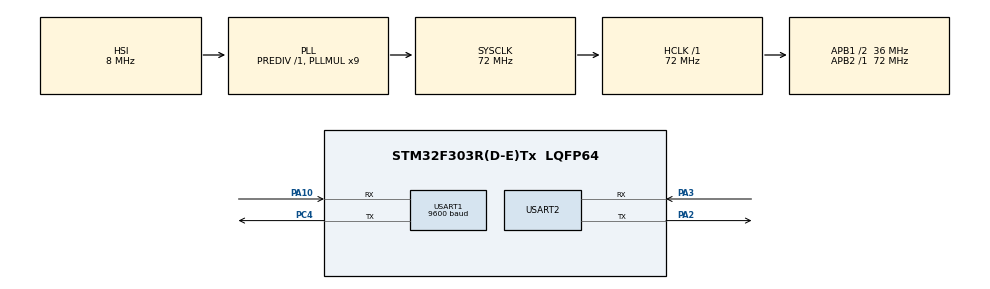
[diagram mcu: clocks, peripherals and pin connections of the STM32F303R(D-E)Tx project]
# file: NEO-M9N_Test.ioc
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Dma.Request0=USART1_RX
Dma.Request1=USART1_TX
Dma.USART1_RX.0.Direction=DMA_PERIPH_TO_MEMORY
Dma.USART1_RX.0.Instance=DMA1_Channel5
Dma.USART1_RX.0.MemDataAlignment=DMA_MDATAALIGN_BYTE
Dma.USART1_RX.0.MemInc=DMA_MINC_ENABLE
Dma.USART1_RX.0.Mode=DMA_NORMAL
Dma.USART1_RX.0.PeriphDataAlignment=DMA_PDATAALIGN_BYTE
Dma.USART1_RX.0.PeriphInc=DMA_PINC_DISABLE
Dma.USART1_RX.0.Priority=DMA_PRIORITY_LOW
Dma.USART1_TX.1.Direction=DMA_MEMORY_TO_PERIPH
Dma.USART1_TX.1.Instance=DMA1_Channel4
Dma.USART1_TX.1.MemDataAlignment=DMA_MDATAALIGN_BYTE
Dma.USART1_TX.1.MemInc=DMA_MINC_ENABLE
Dma.USART1_TX.1.Mode=DMA_NORMAL
Dma.USART1_TX.1.PeriphDataAlignment=DMA_PDATAALIGN_BYTE
Dma.USART1_TX.1.PeriphInc=DMA_PINC_DISABLE
Dma.USART1_TX.1.Priority=DMA_PRIORITY_LOW
Mcu.Family=STM32F3
Mcu.Name=STM32F303R(D-E)Tx
Mcu.Package=LQFP64
NVIC.DMA1_Channel4_IRQn=true\:0\:0\:false\:false\:true\:false\:true
NVIC.DMA1_Channel5_IRQn=true\:0\:0\:false\:false\:true\:false\:true
NVIC.PriorityGroup=NVIC_PRIORITYGROUP_0
NVIC.USART1_IRQn=true\:0\:0\:false\:false\:true\:true\:true
NVIC.USART2_IRQn=true\:0\:0\:false\:false\:true\:true\:true
PA10.Mode=Asynchronous
PA10.Signal=USART1_RX
PA13.Mode=Trace_Asynchronous_SW
PA13.Signal=SYS_JTMS-SWDIO
PA14.Mode=Trace_Asynchronous_SW
PA14.Signal=SYS_JTCK-SWCLK
PA2.Mode=Asynchronous
PA2.Signal=USART2_TX
PA3.Mode=Asynchronous
PA3.Signal=USART2_RX
PB3.Mode=Trace_Asynchronous_SW
PB3.Signal=SYS_JTDO-TRACESWO
PC4.Mode=Asynchronous
PC4.Signal=USART1_TX
ProjectManager.HeapSize=0x200
ProjectManager.StackSize=0x400
ProjectManager.TargetToolchain=STM32CubeIDE
RCC.AHBFreq_Value=72000000
RCC.APB1CLKDivider=RCC_HCLK_DIV2
RCC.APB1Freq_Value=36000000
RCC.APB1TimFreq_Value=72000000
RCC.APB2Freq_Value=72000000
RCC.APB2TimFreq_Value=72000000
RCC.CortexFreq_Value=72000000
RCC.HCLKFreq_Value=72000000
RCC.HSE_VALUE=8000000
RCC.HSI_VALUE=8000000
RCC.LSE_VALUE=32768
RCC.PLLM=8
RCC.PLLMUL=RCC_PLL_MUL9
RCC.PLLN=336
RCC.PLLP=RCC_PLLP_DIV4
RCC.PLLQ=7
RCC.RCC_PLLsource_Clock_Source_FROM_HSE=RCC_HSE_PREDIV_DIV2
RCC.SYSCLKFreq_VALUE=72000000
RCC.SYSCLKSourceVirtual=RCC_SYSCLKSOURCE_PLLCLK
RCC.USBFreq_Value=72000000
USART1.BaudRate=9600
USART1.VirtualMode-Asynchronous=VM_ASYNC
USART2.VirtualMode-Asynchronous=VM_ASYNC
board=NUCLEO-F303RE

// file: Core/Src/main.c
/* USER CODE BEGIN Header */
/**
  ******************************************************************************
  * @file           : main.c
  * @brief          : Main program body
  ******************************************************************************
  * @attention
  *
  * <h2><center>&copy; Copyright (c) 2020 STMicroelectronics.
  * All rights reserved.</center></h2>
  *
  * This software component is licensed by ST under BSD 3-Clause license,
  * the "License"; You may not use this file except in compliance with the
  * License. You may obtain a copy of the License at:
  *                        opensource.org/licenses/BSD-3-Clause
  *
  ******************************************************************************
  */
/* USER CODE END Header */
#include "main.h"

/* USER CODE BEGIN Includes */
#include <GNSS.h>
#include <stdio.h>
#include <string.h>
/* USER CODE END Includes */

UART_HandleTypeDef huart1;
UART_HandleTypeDef huart2;
DMA_HandleTypeDef hdma_usart1_rx;
DMA_HandleTypeDef hdma_usart1_tx;

void SystemClock_Config(void);
static void MX_GPIO_Init(void);
static void MX_DMA_Init(void);
static void MX_USART1_UART_Init(void);
static void MX_USART2_UART_Init(void);

int main(void)
{
  /* USER CODE BEGIN 1 */
  char msg[1000];
  /* USER CODE END 1 */

  /* MCU Configuration--------------------------------------------------------*/

  /* Reset of all peripherals, Initializes the Flash interface and the Systick. */
  HAL_Init();

  /* Configure the system clock */
  SystemClock_Config();

  /* Initialize all configured peripherals */
  MX_GPIO_Init();
  MX_DMA_Init();
  MX_USART1_UART_Init();
  MX_USART2_UART_Init();
  /* USER CODE BEGIN 2 */

  // USART1 used for the GPS (baud rate = 9600)
  // USART2 used for communication w computer (baud rate = 38400)

  // Initialize GNSS_Handle (struct that contains GPS data information)
  GNSS_Init(&GNSS_Handle, &huart1);
  HAL_Delay(1000);
  GNSS_LoadConfig(&GNSS_Handle);
  uint32_t Timer = HAL_GetTick();
  /* USER CODE END 2 */

  /* Infinite loop */
  /* USER CODE BEGIN WHILE */
  while (1)
  {
	  if ((HAL_GetTick() - Timer) > 1000) {

		sprintf(msg, "--New Readings--\n");
		HAL_UART_Transmit(&huart2, (uint8_t*)msg, strlen(msg), HAL_MAX_DELAY);

		GNSS_GetUniqID(&GNSS_Handle);
		GNSS_ParseBuffer(&GNSS_Handle);
		HAL_Delay(250);
		GNSS_GetPVTData(&GNSS_Handle);
		GNSS_ParseBuffer(&GNSS_Handle);

		sprintf(msg, "Day: %d-%d-%d \r\n", GNSS_Handle.day, GNSS_Handle.month,GNSS_Handle.year);
		HAL_UART_Transmit(&huart2, (uint8_t*)msg, strlen(msg), HAL_MAX_DELAY);
		sprintf(msg, "Time: %d:%d:%d \r\n", GNSS_Handle.hour, GNSS_Handle.min,GNSS_Handle.sec);
		HAL_UART_Transmit(&huart2, (uint8_t*)msg, strlen(msg), HAL_MAX_DELAY);
		sprintf(msg, "Status of fix: %d \r\n", GNSS_Handle.fixType);
		HAL_UART_Transmit(&huart2, (uint8_t*)msg, strlen(msg), HAL_MAX_DELAY);
		sprintf(msg, "Latitude: %f \r\n", GNSS_Handle.fLat);
		HAL_UART_Transmit(&huart2, (uint8_t*)msg, strlen(msg), HAL_MAX_DELAY);
		sprintf(msg, "Longitude: %f \r\n",(float) GNSS_Handle.lon / 10000000.0);
		HAL_UART_Transmit(&huart2, (uint8_t*)msg, strlen(msg), HAL_MAX_DELAY);
		sprintf(msg, "Height above ellipsoid: %d \r\n", GNSS_Handle.height);
		HAL_UART_Transmit(&huart2, (uint8_t*)msg, strlen(msg), HAL_MAX_DELAY);
		sprintf(msg, "Height above mean sea level: %d \r\n", GNSS_Handle.hMSL);
		HAL_UART_Transmit(&huart2, (uint8_t*)msg, strlen(msg), HAL_MAX_DELAY);
		sprintf(msg, "Ground Speed (2-D): %d \r\n", GNSS_Handle.gSpeed);
		HAL_UART_Transmit(&huart2, (uint8_t*)msg, strlen(msg), HAL_MAX_DELAY);
		sprintf(msg, "Unique ID: %04X %04X %04X %04X %04X \n\r",
				GNSS_Handle.uniqueID[0], GNSS_Handle.uniqueID[1],
				GNSS_Handle.uniqueID[2], GNSS_Handle.uniqueID[3],
				GNSS_Handle.uniqueID[4], GNSS_Handle.uniqueID[5]);
		HAL_UART_Transmit(&huart2, (uint8_t*)msg, strlen(msg), HAL_MAX_DELAY);
		Timer = HAL_GetTick();
	}
    /* USER CODE END WHILE */

  }
}

void SystemClock_Config(void)
{
  RCC_OscInitTypeDef RCC_OscInitStruct = {0};
  RCC_ClkInitTypeDef RCC_ClkInitStruct = {0};
  RCC_PeriphCLKInitTypeDef PeriphClkInit = {0};

  /** Initializes the RCC Oscillators according to the specified parameters
  * in the RCC_OscInitTypeDef structure.
  */
  RCC_OscInitStruct.OscillatorType = RCC_OSCILLATORTYPE_HSI;
  RCC_OscInitStruct.HSIState = RCC_HSI_ON;
  RCC_OscInitStruct.HSICalibrationValue = RCC_HSICALIBRATION_DEFAULT;
  RCC_OscInitStruct.PLL.PLLState = RCC_PLL_ON;
  RCC_OscInitStruct.PLL.PLLSource = RCC_PLLSOURCE_HSI;
  RCC_OscInitStruct.PLL.PLLMUL = RCC_PLL_MUL9;
  RCC_OscInitStruct.PLL.PREDIV = RCC_PREDIV_DIV1;
  if (HAL_RCC_OscConfig(&RCC_OscInitStruct) != HAL_OK)
  {
    Error_Handler();
  }
  /** Initializes the CPU, AHB and APB buses clocks
  */
  RCC_ClkInitStruct.ClockType = RCC_CLOCKTYPE_HCLK|RCC_CLOCKTYPE_SYSCLK
                              |RCC_CLOCKTYPE_PCLK1|RCC_CLOCKTYPE_PCLK2;
  RCC_ClkInitStruct.SYSCLKSource = RCC_SYSCLKSOURCE_PLLCLK;
  RCC_ClkInitStruct.AHBCLKDivider = RCC_SYSCLK_DIV1;
  RCC_ClkInitStruct.APB1CLKDivider = RCC_HCLK_DIV2;
  RCC_ClkInitStruct.APB2CLKDivider = RCC_HCLK_DIV1;

  if (HAL_RCC_ClockConfig(&RCC_ClkInitStruct, FLASH_LATENCY_2) != HAL_OK)
  {
    Error_Handler();
  }
  PeriphClkInit.PeriphClockSelection = RCC_PERIPHCLK_USART1|RCC_PERIPHCLK_USART2;
  PeriphClkInit.Usart1ClockSelection = RCC_USART1CLKSOURCE_PCLK2;
  PeriphClkInit.Usart2ClockSelection = RCC_USART2CLKSOURCE_PCLK1;
  if (HAL_RCCEx_PeriphCLKConfig(&PeriphClkInit) != HAL_OK)
  {
    Error_Handler();
  }
}

static void MX_USART1_UART_Init(void)
{

  huart1.Instance = USART1;
  huart1.Init.BaudRate = 9600;
  huart1.Init.WordLength = UART_WORDLENGTH_8B;
  huart1.Init.StopBits = UART_STOPBITS_1;
  huart1.Init.Parity = UART_PARITY_NONE;
  huart1.Init.Mode = UART_MODE_TX_RX;
  huart1.Init.HwFlowCtl = UART_HWCONTROL_NONE;
  huart1.Init.OverSampling = UART_OVERSAMPLING_16;
  huart1.Init.OneBitSampling = UART_ONE_BIT_SAMPLE_DISABLE;
  huart1.AdvancedInit.AdvFeatureInit = UART_ADVFEATURE_NO_INIT;
  if (HAL_UART_Init(&huart1) != HAL_OK)
  {
    Error_Handler();
  }

}

static void MX_USART2_UART_Init(void)
{

  huart2.Instance = USART2;
  huart2.Init.BaudRate = 38400;
  huart2.Init.WordLength = UART_WORDLENGTH_8B;
  huart2.Init.StopBits = UART_STOPBITS_1;
  huart2.Init.Parity = UART_PARITY_NONE;
  huart2.Init.Mode = UART_MODE_TX_RX;
  huart2.Init.HwFlowCtl = UART_HWCONTROL_NONE;
  huart2.Init.OverSampling = UART_OVERSAMPLING_16;
  huart2.Init.OneBitSampling = UART_ONE_BIT_SAMPLE_DISABLE;
  huart2.AdvancedInit.AdvFeatureInit = UART_ADVFEATURE_NO_INIT;
  if (HAL_UART_Init(&huart2) != HAL_OK)
  {
    Error_Handler();
  }

}

static void MX_DMA_Init(void)
{

  /* DMA controller clock enable */
  __HAL_RCC_DMA1_CLK_ENABLE();

  /* DMA interrupt init */
  /* DMA1_Channel4_IRQn interrupt configuration */
  HAL_NVIC_SetPriority(DMA1_Channel4_IRQn, 0, 0);
  HAL_NVIC_EnableIRQ(DMA1_Channel4_IRQn);
  /* DMA1_Channel5_IRQn interrupt configuration */
  HAL_NVIC_SetPriority(DMA1_Channel5_IRQn, 0, 0);
  HAL_NVIC_EnableIRQ(DMA1_Channel5_IRQn);

}

static void MX_GPIO_Init(void)
{

  /* GPIO Ports Clock Enable */
  __HAL_RCC_GPIOA_CLK_ENABLE();
  __HAL_RCC_GPIOC_CLK_ENABLE();
  __HAL_RCC_GPIOB_CLK_ENABLE();

}

void Error_Handler(void)
{
}

/************************ (C) COPYRIGHT STMicroelectronics *****END OF FILE****/
